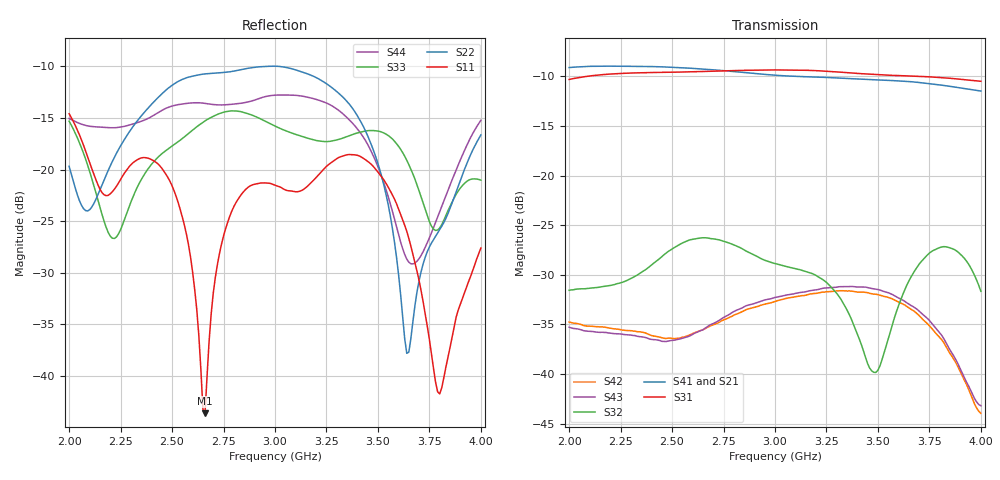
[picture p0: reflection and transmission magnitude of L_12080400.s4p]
!Agilent Technologies,N5224A,MY51441093,A.09.90.21
!Agilent N5224A: A.09.90.21
!Date: Friday, December 19, 2025 16:38:19
!Correction: S11(Full 4 Port(1,2,3,4))
!S12(Full 4 Port(1,2,3,4))
!S13(Full 4 Port(1,2,3,4))
!S14(Full 4 Port(1,2,3,4))
!S21(Full 4 Port(1,2,3,4))
!S22(Full 4 Port(1,2,3,4))
!S23(Full 4 Port(1,2,3,4))
!S24(Full 4 Port(1,2,3,4))
!S31(Full 4 Port(1,2,3,4))
!S32(Full 4 Port(1,2,3,4))
!S33(Full 4 Port(1,2,3,4))
!S34(Full 4 Port(1,2,3,4))
!S41(Full 4 Port(1,2,3,4))
!S42(Full 4 Port(1,2,3,4))
!S43(Full 4 Port(1,2,3,4))
!S44(Full 4 Port(1,2,3,4))
!S4P File: Measurements: <S11,S12,S13,S14>,
!<S21,S22,S23,S24>,
!<S31,S32,S33,S34>,
!<S41,S42,S43,S44>:
# Hz S  dB  R 50
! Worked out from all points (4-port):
!   201 points, 2 GHz to 4 GHz, reference 50 ohm
!   strongest paths, dB at 2 GHz, 2.5 GHz, 3 GHz, 3.5 GHz, 4 GHz:
!     S31: -10.3, -9.6, -9.4, -9.8, -10.5
!     S41: -9.1, -9.1, -9.9, -10.4, -11.5
!     S21: -9.7, -9.3, -10.0, -10.1, -11.1
!     S32: -31.6, -27.4, -28.9, -39.6, -31.7
!     S43: -35.3, -36.6, -32.3, -31.5, -43.2
!     S42: -34.8, -36.4, -32.7, -32.0, -44.0
!   lowest |S11| = -43.6 dB at 2.66 GHz (marker M1), VSWR 1.01, Z = 50.5 - j0.444 ohm
!   |S11| at or under -10 dB: start of sweep to end of sweep
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2e9  -14.59 -52.3  -9.67 29.2  -10.26 120.6  -9.23 -169.8
     -9.68 29.1  -19.68 94.7  -31.52 -37.3  -34.88 48.7
     -10.31 120.8  -31.56 -37.1  -15.30 152.7  -35.47 139.8
     -9.11 -169.6  -34.76 48.9  -35.29 139.8  -15.04 3.8
2.5e9  -21.56 -100.1  -9.26 118.4  -9.51 -153.2  -9.21 -62.3
       -9.27 118.3  -11.83 -137.2  -27.35 -45.5  -36.54 -90.2
       -9.58 -153.2  -27.41 -45.4  -17.72 -133.1  -36.80 -1.8
       -9.09 -62.3  -36.41 -90.1  -36.62 -1.8  -13.84 -128.5
2.66e9  -43.61 -41.7  -9.39 36.1  -9.44 124.8  -9.40 -142.7
        -9.41 36.0  -10.72 -174.9  -26.23 -153.5  -35.57 134.5
        -9.51 124.9  -26.27 -153.4  -15.28 -167.8  -35.58 -136.5
        -9.29 -142.6  -35.44 134.7  -35.40 -136.6  -13.58 -172.2
2.86e9  -21.87 -30.7  -9.73 -64.5  -9.32 24.1  -9.73 117.6
        -9.77 -64.6  -10.21 148.4  -27.57 88.3  -33.64 -37.5
        -9.40 24.2  -27.62 88.6  -14.53 143.6  -33.30 53.0
        -9.64 117.7  -33.52 -37.4  -33.12 53.1  -13.48 147.0
3.64e9  -25.97 -171.1  -10.23 -87.1  -9.86 3.4  -10.55 90.5
        -10.25 -87.0  -37.80 35.3  -30.98 169.9  -33.24 3.1
        -9.95 3.7  -31.05 170.2  -19.09 30.4  -32.94 97.5
        -10.51 90.8  -33.18 3.5  -32.82 97.6  -28.66 -129.6
3.8e9  -41.73 73.6  -10.54 -166.1  -10.03 -73.3  -10.90 9.6
       -10.56 -166.0  -25.81 105.0  -27.19 78.9  -36.36 -146.0
       -10.12 -72.8  -27.26 79.2  -25.65 57.4  -35.98 -50.6
       -10.86 10.1  -36.30 -145.6  -35.84 -50.5  -24.06 137.0
4e9  -27.59 -0.9  -11.07 96.2  -10.41 -168.8  -11.51 -90.3
     -11.10 96.4  -16.63 96.1  -31.60 -38.0  -44.01 -13.9
     -10.50 -168.2  -31.67 -37.7  -21.02 59.8  -43.34 79.0
     -11.48 -89.6  -43.97 -13.4  -43.20 78.9  -15.22 90.1
